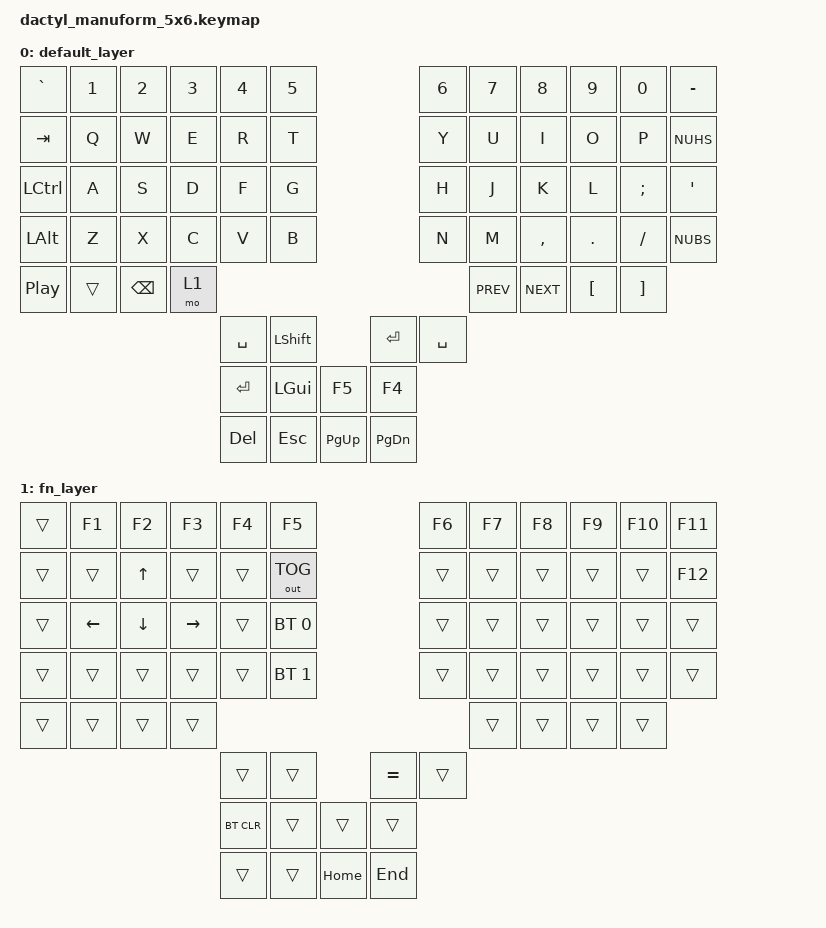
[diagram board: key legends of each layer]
/*
 * Dactyl Manuform 5x6 keymap
 * Converted from Ergodox EZ QMK layout
 */

#include <behaviors.dtsi>
#include <dt-bindings/zmk/keys.h>
#include <dt-bindings/zmk/bt.h>
#include <dt-bindings/zmk/outputs.h>


/ {


    keymap {
        compatible = "zmk,keymap";

        // Layer 0: Base
        default_layer {
            bindings = <
// ╭─────────┬─────────┬─────────┬─────────┬─────────┬─────────╮                 ╭─────────┬─────────┬─────────┬─────────┬─────────┬─────────╮
    &kp GRAVE  &kp N1    &kp N2    &kp N3    &kp N4    &kp N5                       &kp N6    &kp N7    &kp N8    &kp N9    &kp N0   &kp MINUS
// ├─────────┼─────────┼─────────┼─────────┼─────────┼─────────┤                 ├─────────┼─────────┼─────────┼─────────┼─────────┼─────────┤
    &kp TAB    &kp Q     &kp W     &kp E     &kp R     &kp T                        &kp Y     &kp U     &kp I     &kp O     &kp P    &kp NUHS
// ├─────────┼─────────┼─────────┼─────────┼─────────┼─────────┤                 ├─────────┼─────────┼─────────┼─────────┼─────────┼─────────┤
    &kp LCTRL  &kp A     &kp S     &kp D     &kp F     &kp G                        &kp H     &kp J     &kp K     &kp L    &kp SEMI   &kp SQT
// ├─────────┼─────────┼─────────┼─────────┼─────────┼─────────┤                 ├─────────┼─────────┼─────────┼─────────┼─────────┼─────────┤
    &kp LALT   &kp Z     &kp X     &kp C     &kp V     &kp B                        &kp N     &kp M   &kp COMMA  &kp DOT   &kp FSLH  &kp NUBS
// ├─────────┼─────────┼─────────┼─────────╮                                                         ╭─────────┼─────────┼─────────┼─────────┤
    &kp C_PP &trans &kp BSPC  &mo 1                                                             &kp C_PREV &kp C_NEXT &kp LBKT  &kp RBKT
// ╰─────────┴─────────┴─────────┴─────────╯                                                         ╰─────────┴─────────┴─────────┴─────────╯
//                                         ╭─────────┬─────────╮ ╭─────────┬─────────╮
                                             &kp SPACE  &kp LSHFT      &kp RET    &kp SPACE
//                                         ├─────────┼─────────┤ ├─────────┼─────────┤
                                             &kp RET    &kp LGUI  &kp F5    &kp F4
//                                         ├─────────┼─────────┤ ├─────────┼─────────┤
                                             &kp DEL   &kp ESC    &kp PG_UP &kp PG_DN
//                                         ╰─────────┴─────────╯ ╰─────────┴─────────╯
            >;
        };

        // Layer 1: Functions
                fn_layer {
            bindings = <
// ╭─────────┬─────────┬─────────┬─────────┬─────────┬─────────╮                 ╭─────────┬─────────┬─────────┬─────────┬─────────┬─────────╮
    &trans     &kp F1    &kp F2    &kp F3    &kp F4    &kp F5                       &kp F6    &kp F7    &kp F8    &kp F9    &kp F10   &kp F11
// ├─────────┼─────────┼─────────┼─────────┼─────────┼─────────┤                 ├─────────┼─────────┼─────────┼─────────┼─────────┼─────────┤
    &trans     &trans    &kp UP    &trans    &trans   &out OUT_TOG                  &trans    &trans    &trans    &trans    &trans    &kp F12
// ├─────────┼─────────┼─────────┼─────────┼─────────┼─────────┤                 ├─────────┼─────────┼─────────┼─────────┼─────────┼─────────┤
    &trans     &kp LEFT  &kp DOWN  &kp RIGHT &trans   &bt BT_SEL 0                  &trans    &trans    &trans    &trans    &trans    &trans
// ├─────────┼─────────┼─────────┼─────────┼─────────┼─────────┤                 ├─────────┼─────────┼─────────┼─────────┼─────────┼─────────┤
    &trans     &trans    &trans    &trans    &trans   &bt BT_SEL 1                  &trans    &trans    &trans    &trans    &trans    &trans
// ├─────────┼─────────┼─────────┼─────────╮                                                         ╭─────────┼─────────┼─────────┼─────────┤
    &trans     &trans    &trans    &trans                                                              &trans    &trans    &trans    &trans
// ╰─────────┴─────────┴─────────┴─────────╯                                                         ╰─────────┴─────────┴─────────┴─────────╯
//                                         ╭─────────┬─────────╮ ╭─────────┬─────────╮
                                             &trans    &trans       &kp EQUAL   &trans
//                                         ├─────────┼─────────┤ ├─────────┼─────────┤
                                             &bt BT_CLR  &trans    &trans  &trans
//                                         ├─────────┼─────────┤ ├─────────┼─────────┤
                                             &trans    &trans      &kp HOME   &kp END
//                                         ╰─────────┴─────────╯ ╰─────────┴─────────╯
            >;
        };

    };
};
